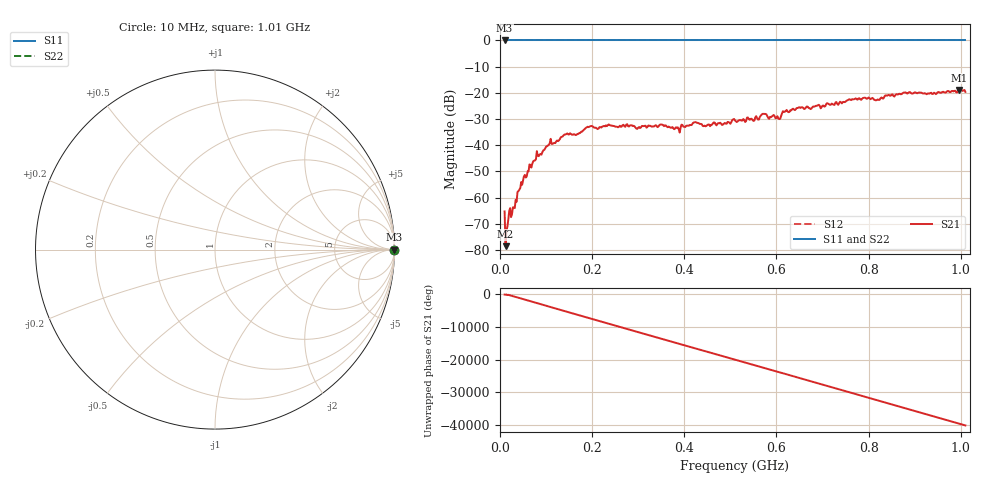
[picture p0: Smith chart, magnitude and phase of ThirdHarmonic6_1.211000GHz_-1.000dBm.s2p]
! 8/16/2025 12:37:38 PM
! C:\ANRITSUVNA\TEMP\TEMP.S2P
! CHANNEL.1
! TR.MEASUREMENT
! RAW.DATA
! RF.CORRECTION.OFF
! AVERAGING.OFF
! IF.BANDWIDTH: 5KHZ
! SWEEPTYPE:  FREQ.SWEEP(Linear)
! Reference Plane Port Info
! PORT:  PORT1  PORT2
! DISTANCE:  0  m  0  m
! TIME:  0  s  0  s
! PHASE.OFFSET:  0  deg.  0  deg.
! LOSS:  0  dB  0  dB
! REF.LOSS:  0  dB  0  dB
! REF.FREQ:  0  Hz  0  Hz
! Power Info
! POWER:  -20  dBm  -20  dBm
! EFF.POWER:  -20  dBm  -20  dBm
! SOURCE.ATTEN:  0  dB  0  dB
! TEST.ATTEN:  0  dB  0  dB
# GHZ S RI R 50.0
! FREQ.GHZ  S11RE  S11IM  S21RE  S21IM  S12RE  S12IM  S22RE  S22IM
!; PortSelection: Port_12
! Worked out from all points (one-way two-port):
!   501 points, 10 MHz to 1.01 GHz, reference 50 ohm
!   highest |S21| = -18.87 dB at 996 MHz (marker M1); lowest = -78.5 dB at 12 MHz (marker M2)
!   lowest |S11| = 0.0 dB at 10 MHz (marker M3)
!   |S11| at or under -10 dB: nowhere
!   |S22| runs from 0.0 to 0.0 dB; largest |S21 - S12| = 1.1
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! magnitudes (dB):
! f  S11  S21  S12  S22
! 10 MHz  0.0  -65.2  0.0  0.0
! 12 MHz  0.0  -78.5  0.0  0.0
! 16 MHz  0.0  -71.1  0.0  0.0
! 18 MHz  0.0  -68.4  0.0  0.0
! 28 MHz  0.0  -63.7  0.0  0.0
! 50 MHz  0.0  -53.5  0.0  0.0
! 78 MHz  0.0  -45.3  0.0  0.0
! 106 MHz  0.0  -39.8  0.0  0.0
! 178 MHz  0.0  -34.8  0.0  0.0
! 198 MHz  0.0  -32.6  0.0  0.0
! 344 MHz  0.0  -32.8  0.0  0.0
! 388 MHz  0.0  -33.9  0.0  0.0
! 422 MHz  0.0  -31.2  0.0  0.0
! 444 MHz  0.0  -32.5  0.0  0.0
! 510 MHz  0.0  -30.5  0.0  0.0
! 574 MHz  0.0  -28.0  0.0  0.0
! 604 MHz  0.0  -29.7  0.0  0.0
! 618 MHz  0.0  -27.2  0.0  0.0
! 678 MHz  0.0  -25.5  0.0  0.0
! 844 MHz  0.0  -20.8  0.0  0.0
! 996 MHz  0.0  -18.9  0.0  0.0
! 1.01 GHz  0.0  -19.6  0.0  0.0
